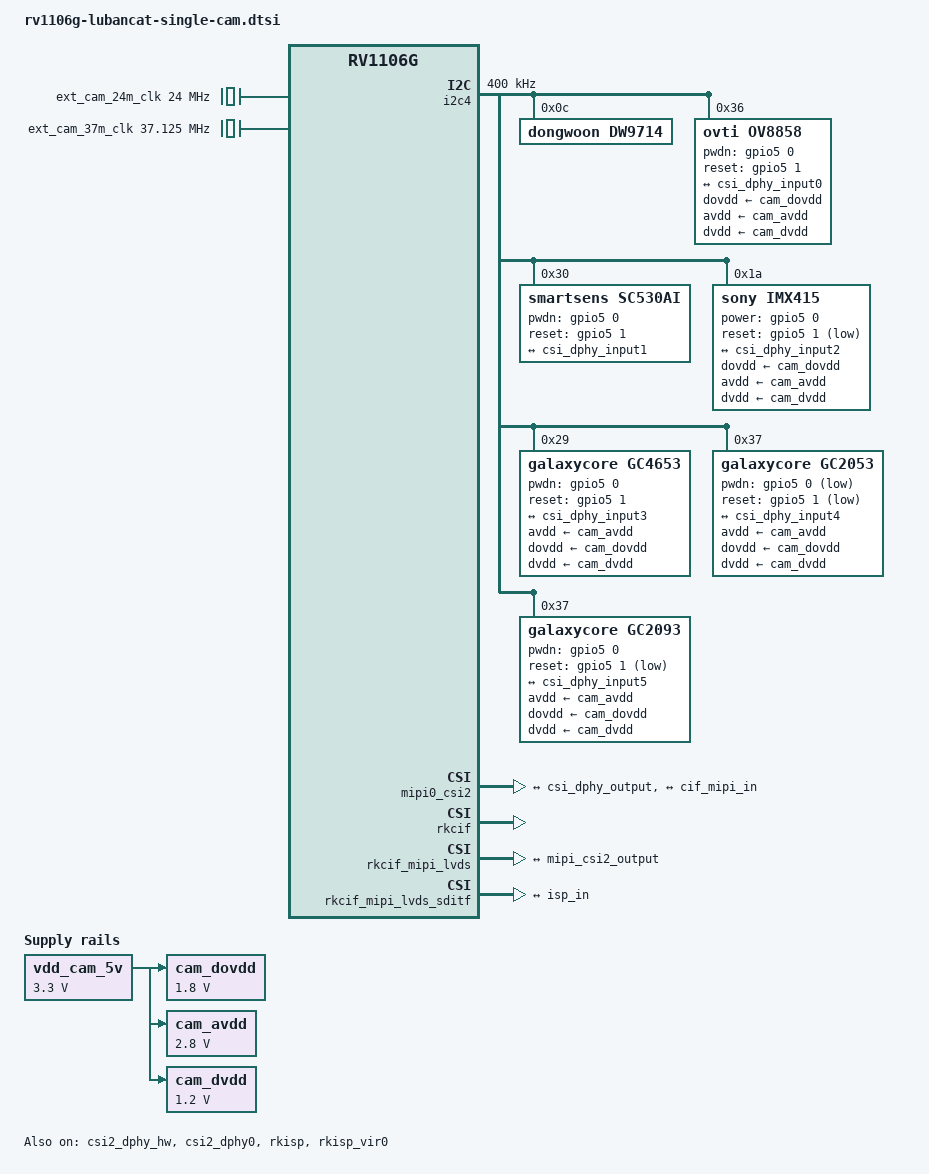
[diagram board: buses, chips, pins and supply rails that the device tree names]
// SPDX-License-Identifier: (GPL-2.0+ OR MIT)



/{
	ext_cam_24m_clk: external-camera-24m-clock {
		compatible = "fixed-clock";
		#clock-cells = <0>;
		clock-frequency = <24000000>;
		clock-output-names = "ext_cam_24m_clk";
	}; 

	ext_cam_37m_clk: external-camera-37m-clock {
		compatible = "fixed-clock";
		clock-frequency = <37125000>;
		clock-output-names = "ext_cam_37m_clk";
		#clock-cells = <0>;
	};

	vdd_cam_5v: vdd-cam-5v-regulator {
		compatible = "regulator-fixed";
		regulator-name = "vdd_cam_5v";
		regulator-always-on;
		regulator-boot-on;
		regulator-min-microvolt = <3300000>;
		regulator-max-microvolt = <3300000>;
	};

	cam_dovdd: cam-dovdd {
		compatible = "regulator-fixed";
		regulator-name = "cam_dovdd";
		regulator-always-on;
		regulator-boot-on;
		regulator-min-microvolt = <1800000>;
		regulator-max-microvolt = <1800000>;
		vin-supply = <&vdd_cam_5v>;
	};

	cam_avdd: cam-avdd {
		compatible = "regulator-fixed";
		regulator-name = "cam_avdd";
		regulator-always-on;
		regulator-boot-on;
		regulator-min-microvolt = <2800000>;
		regulator-max-microvolt = <2800000>;
		vin-supply = <&vdd_cam_5v>;
	};

	cam_dvdd: cam-dvdd {
		compatible = "regulator-fixed";
		regulator-name = "cam_dvdd";
		regulator-always-on;
		regulator-boot-on;
		regulator-min-microvolt = <1200000>;
		regulator-max-microvolt = <1200000>;
		vin-supply = <&vdd_cam_5v>;
	};
};

&csi2_dphy_hw {
	status = "okay";
};

&csi2_dphy0 {
	status = "okay";

	ports {
		#address-cells = <1>;
		#size-cells = <0>;

		port@0 {
			reg = <0>;
			#address-cells = <1>;
			#size-cells = <0>;

			csi_dphy_input0: endpoint@0 {
				reg = <0>;
				remote-endpoint = <&ov8858_out>;
				data-lanes = <1 2>;
			};

			csi_dphy_input1: endpoint@1 {
				reg = <1>;
				remote-endpoint = <&sc530ai_out>;
				data-lanes = <1 2>;
			};

			csi_dphy_input2: endpoint@2 {
				reg = <2>;
				remote-endpoint = <&imx415_out>;
				data-lanes = <1 2>;
			};

			csi_dphy_input3: endpoint@3 {
				reg = <3>;
				remote-endpoint = <&gc4653_out>;
				data-lanes = <1 2>;
			};

			csi_dphy_input4: endpoint@4 {
				reg = <4>;
				remote-endpoint = <&gc2053_out>;
				data-lanes = <1 2>;
			};

			csi_dphy_input5: endpoint@5 {
				reg = <5>;
				remote-endpoint = <&gc2093_out>;
				data-lanes = <1 2>;
			};
		};

		port@1 {
			reg = <1>;
			#address-cells = <1>;
			#size-cells = <0>;

			csi_dphy_output: endpoint@0 {
				reg = <0>;
				remote-endpoint = <&mipi_csi2_input>;
			};
		};
	};
};

&i2c4 {
	status = "okay";
	clock-frequency = <400000>;
	pinctrl-names = "default";
	pinctrl-0 = <&i2c4m2_xfer>;

	dw9714: dw9714@c {
		status = "okay";
		compatible = "dongwoon,dw9714";
		reg = <0xc>;
		rockchip,camera-module-index = <0>;
		rockchip,vcm-max-current = <100>;
		rockchip,vcm-start-current = <0>;
		rockchip,vcm-rated-current = <100>;
		rockchip,vcm-step-mode = <0xd>;
		rockchip,vcm-dlc-enable = <0>;
		rockchip,vcm-mclk = <0>;	
		rockchip,vcm-t-src = <0>;
		rockchip,camera-module-facing = "back";
	};

	ov8858: ov8858@36 {
		compatible = "ovti,ov8858";
		status = "okay";
		reg = <0x36>;
		clocks = <&ext_cam_24m_clk>;
		clock-names = "xvclk";
		pwdn-gpios = <&gpio5 0 GPIO_ACTIVE_HIGH>;
		reset-gpios = <&gpio5 1 GPIO_ACTIVE_HIGH>;

		dovdd-supply= <&cam_dovdd>; /* 1.8v */
		avdd-supply = <&cam_avdd>;  /* 2.8v */
		dvdd-supply = <&cam_dvdd>;  /* 1.2v */

		rockchip,camera-module-index = <0>;
		rockchip,camera-module-facing = "back";
		rockchip,camera-module-name = "HS5885-BNSM1018-V01";
		rockchip,camera-module-lens-name = "default";
		lens-focus = <&dw9714>;

		port {
			/* MIPI CSI-2 bus endpoint */
			ov8858_out: endpoint {
				remote-endpoint = <&csi_dphy_input0>;
				data-lanes = <1 2>;
			};
		};
	};

	sc530ai: sc530ai@30 {
		compatible = "smartsens,sc530ai";
		status = "okay";
		reg = <0x30>;
		clocks = <&ext_cam_24m_clk>;
		clock-names = "xvclk";
		pwdn-gpios = <&gpio5 0 GPIO_ACTIVE_HIGH>;
		reset-gpios = <&gpio5 1 GPIO_ACTIVE_HIGH>;
		rockchip,camera-module-index = <0>;
		rockchip,camera-module-facing = "back";
		rockchip,camera-module-name = "CMK-OT2115-PC1";
		rockchip,camera-module-lens-name = "30IRC-F16";
		port {
			sc530ai_out: endpoint {
				remote-endpoint = <&csi_dphy_input1>;
				data-lanes = <1 2>;
			};
		};
	};

	imx415: imx415@1a {
		compatible = "sony,imx415";
		status = "okay";
		reg = <0x1a>;
		clocks = <&ext_cam_37m_clk>;
		clock-names = "xvclk";
		power-gpios = <&gpio5 0 GPIO_ACTIVE_HIGH>;
		reset-gpios = <&gpio5 1 GPIO_ACTIVE_LOW>;

		dovdd-supply= <&cam_dovdd>; /* 1.8v */
		avdd-supply = <&cam_avdd>;  /* 2.8v */
		dvdd-supply = <&cam_dvdd>;  /* 1.2v */

		rockchip,camera-module-index = <0>;
		rockchip,camera-module-facing = "back";
		rockchip,camera-module-name = "CMK-OT2022-PX1";
		rockchip,camera-module-lens-name = "IR0147-50IRC-8M-F20";
		rockchip,imx415-capture-mode=<1>; /* 1920x1080 */
		port {
			imx415_out: endpoint {
				remote-endpoint = <&csi_dphy_input2>;
				data-lanes = <1 2>;
			};
		};
	};

	gc4653: gc4653@29 {
		compatible = "galaxycore,gc4653";
		status = "okay";
		reg = <0x29>;
		clocks = <&ext_cam_24m_clk>;
		clock-names = "xvclk";

		avdd-supply = <&cam_avdd>;
		dovdd-supply = <&cam_dovdd>;
		dvdd-supply = <&cam_dvdd>;
		pwdn-gpios = <&gpio5 0 GPIO_ACTIVE_HIGH>;
		reset-gpios = <&gpio5 1 GPIO_ACTIVE_HIGH>;

		rockchip,camera-module-index = <0>;
		rockchip,camera-module-facing = "front";
		rockchip,camera-module-name = "YT10120";
		rockchip,camera-module-lens-name = "30IRC-4M-F20";

		// NO_HDR:0 HDR_X2:5 HDR_X3:6
		// rockchip,camera-hdr-mode = <0>;
		port {
			gc4653_out: endpoint {
				remote-endpoint = <&csi_dphy_input3>;
				data-lanes = <1 2>;
			};
		};
	};

	gc2053: gc2053@37 {
		compatible = "galaxycore,gc2053";
		status = "okay";
		reg = <0x37>;
		clocks = <&ext_cam_24m_clk>;
		clock-names = "xvclk";

		avdd-supply = <&cam_avdd>;
		dovdd-supply = <&cam_dovdd>;
		dvdd-supply = <&cam_dvdd>;

		pwdn-gpios = <&gpio5 0 GPIO_ACTIVE_LOW>;
		reset-gpios = <&gpio5 1 GPIO_ACTIVE_LOW>;

		rockchip,camera-module-index = <0>;
		rockchip,camera-module-facing = "back";
		rockchip,camera-module-name = "CMK-OT2274-V10";
		rockchip,camera-module-lens-name = "28IRC-F20";
		port {
			gc2053_out: endpoint {
				remote-endpoint = <&csi_dphy_input4>;
				data-lanes = <1 2>;
			};
		};
	};

	gc2093: gc2093@37 {
		compatible = "galaxycore,gc2093";
		status = "okay";
		reg = <0x37>;
		clocks = <&ext_cam_24m_clk>;
		clock-names = "xvclk";

		avdd-supply = <&cam_avdd>;
		dovdd-supply = <&cam_dovdd>;
		dvdd-supply = <&cam_dvdd>;

		pwdn-gpios = <&gpio5 0 GPIO_ACTIVE_HIGH>;
		reset-gpios = <&gpio5 1 GPIO_ACTIVE_LOW>;

		rockchip,camera-module-index = <0>;
		rockchip,camera-module-facing = "back";
		rockchip,camera-module-name = "SIDA209300461";
		rockchip,camera-module-lens-name = "60IRC_F20";

		port {
			gc2093_out: endpoint {
				remote-endpoint = <&csi_dphy_input5>;
				data-lanes = <1 2>;
			};
		};
	};

};

&mipi0_csi2 {
	status = "okay";

	ports {
		#address-cells = <1>;
		#size-cells = <0>;

		port@0 {
			reg = <0>;
			#address-cells = <1>;
			#size-cells = <0>;

			mipi_csi2_input: endpoint@1 {
				reg = <1>;
				remote-endpoint = <&csi_dphy_output>;
			};
		};

		port@1 {
			reg = <1>;
			#address-cells = <1>;
			#size-cells = <0>;

			mipi_csi2_output: endpoint@0 {
				reg = <0>;
				remote-endpoint = <&cif_mipi_in>;
			};
		};
	};
};

&rkcif {
	status = "okay";
};

&rkcif_mipi_lvds {
	status = "okay";

	pinctrl-names = "default";
	pinctrl-0 = <&mipi_pins>;
	port {
		/* MIPI CSI-2 endpoint */
		cif_mipi_in: endpoint {
			remote-endpoint = <&mipi_csi2_output>;
		};
	};
};

&rkcif_mipi_lvds_sditf {
	status = "okay";

	port {
		/* MIPI CSI-2 endpoint */
		mipi_lvds_sditf: endpoint {
			remote-endpoint = <&isp_in>;
		};
	};
};

&rkisp {
	status = "okay";
};

&rkisp_vir0 {
	status = "okay";

	port@0 {
		isp_in: endpoint {
			remote-endpoint = <&mipi_lvds_sditf>;
		};
	};
};

